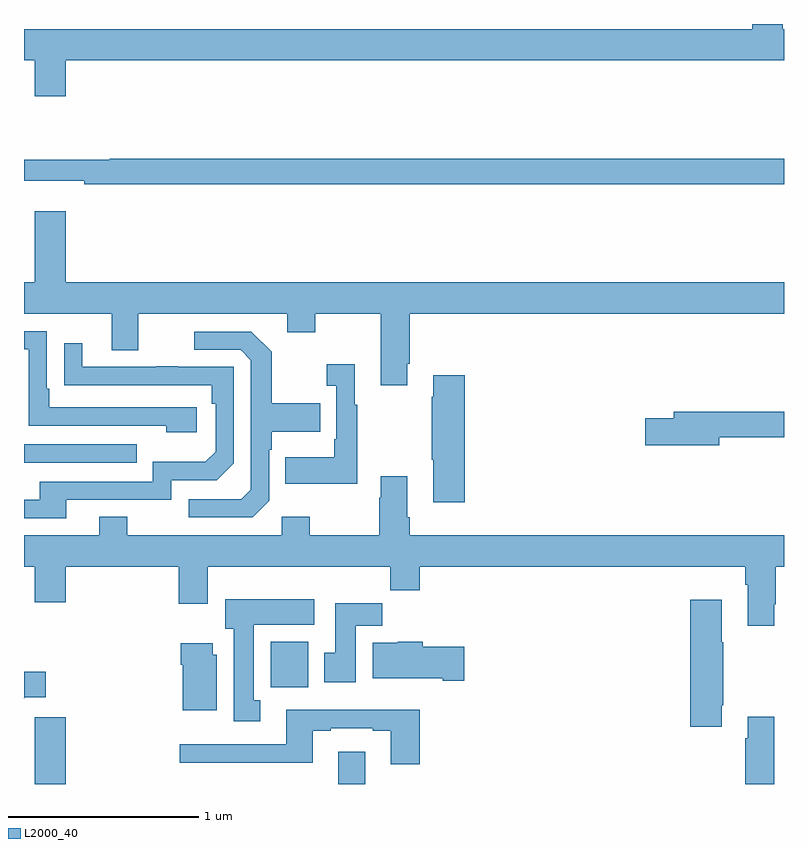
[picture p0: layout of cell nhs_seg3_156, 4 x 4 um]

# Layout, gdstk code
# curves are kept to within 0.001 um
import gdstk
lib = gdstk.Library(unit=1e-6, precision=1e-09)
def R(c, l, rs):  # rectangles x0, y0, x1, y1
    for r in rs: c.add(gdstk.rectangle(r[:2], r[2:], *l))
def P(c, l, *ps):  # polygons
    for p in ps: c.add(gdstk.Polygon(p, *l))
L2000_40 = (2000, 40)

nhs_seg3_156 = lib.new_cell('nhs_seg3_156')
R(nhs_seg3_156, L2000_40, [(117.056,738.4,117.22,738.751), (118.655,738.4,118.795,738.571), (118.298,738.908,118.495,739.15), (117,740.091,117.593,740.187)])
P(nhs_seg3_156, L2000_40, [(117.22,742.208),(121,742.208),(121,742.372),(120.993,742.372),(120.993,742.4),(120.833,742.4),(120.833,742.372),(117,742.372),(117,742.208),(117.056,742.208),(117.056,742.02),(117.22,742.02)],
  [(121,741.692),(117.452,741.692),(117.452,741.685),(117,741.685),(117,741.575),(117.316,741.575),(117.316,741.556),(121,741.556)],
  [(119.017,740.611),(119.03,740.611),(119.03,740.876),(121,740.876),(121,741.04),(117.22,741.04),(117.22,741.415),(117.056,741.415),(117.056,741.04),(117,741.04),(117,740.876),(117.461,740.876),(117.461,740.682),(117.601,740.682),(117.601,740.876),(118.385,740.876),(118.385,740.777),(118.533,740.777),(118.533,740.876),(118.877,740.876),(118.877,740.499),(119.017,740.499)],
  [(117.91,740.382),(117.133,740.382),(117.133,740.479),(117.12,740.479),(117.12,740.784),(117,740.784),(117,740.688),(117.024,740.688),(117.024,740.286),(117.749,740.286),(117.749,740.252),(117.91,740.252)],
  [(118.29,739.89),(118.29,740.159),(118.303,740.159),(118.303,740.255),(118.559,740.255),(118.559,740.403),(118.303,740.403),(118.303,740.675),(118.197,740.781),(117.897,740.781),(117.897,740.685),(118.14,740.685),(118.194,740.631),(118.194,739.95),(118.143,739.899),(117.867,739.899),(117.867,739.803),(118.203,739.803)],
  [(117.223,739.896),(117.774,739.896),(117.774,739.998),(118.014,739.998),(118.104,740.088),(118.104,740.595),(117.809,740.595),(117.809,740.6),(117.697,740.6),(117.697,740.595),(117.307,740.595),(117.307,740.719),(117.211,740.719),(117.211,740.5),(117.988,740.499),(117.988,740.402),(118.008,740.402),(118.008,740.148),(117.955,740.095),(117.678,740.095),(117.678,739.992),(117.083,739.992),(117.083,739.896),(117,739.896),(117,739.8),(117.223,739.8)],
  [(118.753,740.395),(118.741,740.395),(118.741,740.608),(118.593,740.608),(118.593,740.495),(118.644,740.495),(118.644,740.215),(118.632,740.215),(118.632,740.119),(118.375,740.119),(118.375,739.979),(118.753,739.979)],
  [(119.321,740.551),(119.153,740.551),(119.153,740.438),(119.146,740.438),(119.146,740.107),(119.153,740.107),(119.153,739.884),(119.321,739.884)],
  [(120.658,740.224),(121,740.224),(121,740.36),(120.419,740.36),(120.419,740.324),(120.27,740.324),(120.27,740.182),(120.658,740.182)],
  [(120.949,739.345),(120.957,739.345),(120.957,739.544),(121,739.544),(121,739.708),(119.03,739.708),(119.03,739.804),(119.017,739.804),(119.017,740.02),(118.877,740.02),(118.877,739.907),(118.87,739.907),(118.87,739.708),(118.503,739.708),(118.503,739.807),(118.356,739.807),(118.356,739.708),(117.543,739.708),(117.543,739.807),(117.395,739.807),(117.395,739.708),(117,739.708),(117,739.544),(117.056,739.544),(117.056,739.356),(117.22,739.356),(117.22,739.544),(117.815,739.544),(117.815,739.35),(117.967,739.35),(117.967,739.544),(118.927,739.544),(118.927,739.42),(119.084,739.42),(119.084,739.544),(120.797,739.544),(120.797,739.448),(120.809,739.448),(120.809,739.233),(120.949,739.233)],
  [(118.243,738.842),(118.21,738.842),(118.21,739.238),(118.528,739.238),(118.528,739.372),(118.058,739.372),(118.058,739.218),(118.103,739.218),(118.103,738.729),(118.243,738.729)],
  [(120.673,738.814),(120.681,738.814),(120.681,739.145),(120.673,739.145),(120.673,739.369),(120.506,739.369),(120.506,738.702),(120.673,738.702)],
  [(118.747,739.232),(118.886,739.232),(118.886,739.351),(118.637,739.351),(118.637,739.092),(118.58,739.092),(118.58,738.936),(118.747,738.936)],
  [(119.317,739.122),(119.099,739.122),(119.099,739.15),(118.968,739.15),(118.968,739.144),(118.835,739.144),(118.835,738.956),(119.204,738.956),(119.204,738.944),(119.317,738.944)],
  [(118.015,739.08),(117.994,739.08),(117.994,739.141),(117.824,739.141),(117.824,739.028),(117.836,739.028),(117.836,738.788),(118.015,738.788)],
  [(117.002,738.857),(117.115,738.857),(117.115,738.992),(117,738.992),(117,738.85),(117.002,738.85)],
  [(119.084,738.79),(118.379,738.79),(118.379,738.609),(117.819,738.609),(117.819,738.512),(118.519,738.512),(118.519,738.681),(118.615,738.681),(118.615,738.693),(118.835,738.693),(118.835,738.681),(118.931,738.681),(118.931,738.504),(119.084,738.504)],
  [(120.949,738.754),(120.809,738.754),(120.809,738.641),(120.797,738.641),(120.797,738.4),(120.949,738.4)])

lib.write_gds('nhs_seg3_156.gds')
